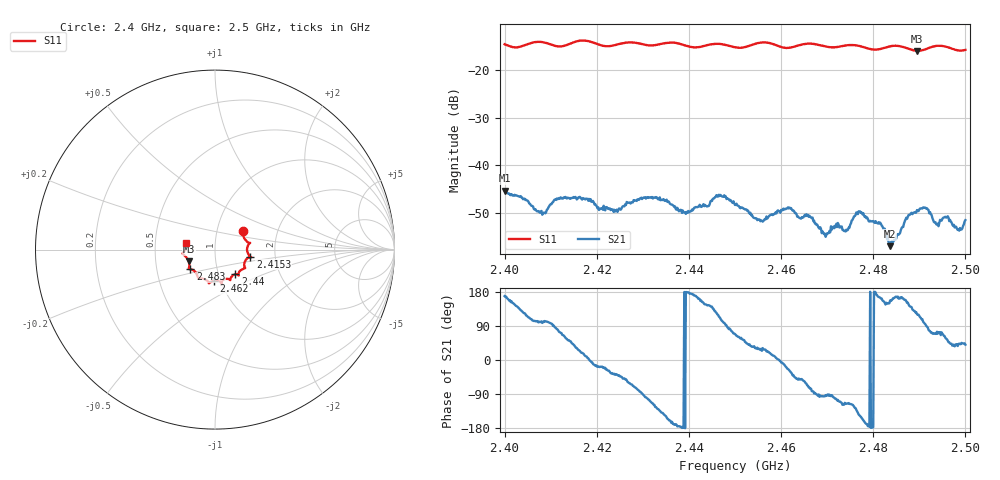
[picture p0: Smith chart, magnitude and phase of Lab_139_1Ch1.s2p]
# Hz S RI R 50
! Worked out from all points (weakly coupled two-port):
!   601 points, 2.4 GHz to 2.5 GHz, reference 50 ohm
!   highest |S21| = -45.36 dB at 2.4 GHz (marker M1); lowest = -57.0 dB at 2.4837 GHz (marker M2)
!   lowest |S11| = -15.9 dB at 2.4895 GHz (marker M3), VSWR 1.38, Z = 36.9 - j4.99 ohm
!   |S11| at or under -10 dB: start of sweep to end of sweep
!   S12 and S22 are empty: the file has one direction only
!   S11 on the Smith chart (normalised r, x): 2.4 GHz: 1.33, +0.29; 2.4153 GHz: 1.48, -0.12; 2.44 GHz: 1.20, -0.34; 2.462 GHz: 0.93, -0.33; 2.483 GHz: 0.74, -0.17; 2.5 GHz: 0.72, +0.06
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2.4e9  0.1554 0.1063  -0.00529 0.00108  0 0  0 0
2.4085e9  0.1937 0.0358  -0.000567 0.00313  0 0  0 0
2.411333e9  0.1793 0.00885  0.000667 0.00443  0 0  0 0
2.415333e9  0.1961 -0.0387  0.00382 0.00265  0 0  0 0
2.416667e9  0.2018 -0.0427  0.0042 0.00144  0 0  0 0
2.424167e9  0.1629 -0.0886  0.00265 -0.00201  0 0  0 0
2.433333e9  0.1312 -0.1334  -0.00279 -0.00339  0 0  0 0
2.44e9  0.1139 -0.1369  -0.0032 0.000108  0 0  0 0
2.446333e9  0.0848 -0.1704  -0.00228 0.00411  0 0  0 0
2.45e9  0.0647 -0.1627  0.0014 0.00356  0 0  0 0
2.455667e9  0.0376 -0.1925  0.0023 0.0013  0 0  0 0
2.462e9  -0.00531 -0.1735  0.00304 -0.0018  0 0  0 0
2.466667e9  -0.0345 -0.1876  0.00038 -0.00276  0 0  0 0
2.469833e9  -0.0466 -0.1712  -0.000157 -0.00186  0 0  0 0
2.474333e9  -0.0894 -0.1603  -0.000876 -0.00187  0 0  0 0
2.477333e9  -0.0968 -0.1504  -0.00275 -0.00157  0 0  0 0
2.483e9  -0.1376 -0.1095  -0.00142 0.000868  0 0  0 0
2.483333e9  -0.1402 -0.1093  -0.00134 0.000797  0 0  0 0
2.483667e9  -0.1422 -0.1092  -0.0013 0.000545  0 0  0 0
2.4895e9  -0.1464 -0.0658  -0.00172 0.00291  0 0  0 0
2.498667e9  -0.1607 0.0157  0.0015 0.00141  0 0  0 0
2.5e9  -0.1596 0.0387  0.00202 0.00172  0 0  0 0
